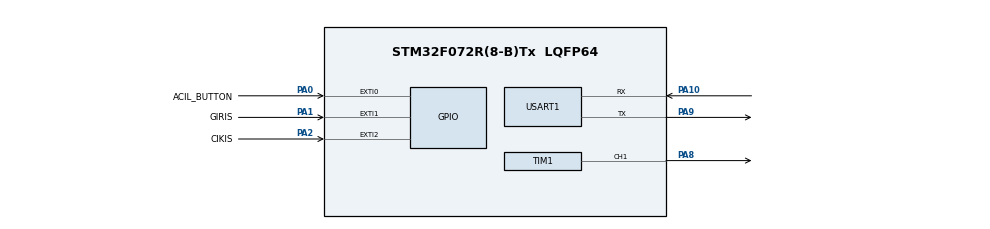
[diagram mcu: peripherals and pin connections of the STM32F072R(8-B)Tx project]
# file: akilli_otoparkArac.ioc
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Mcu.Family=STM32F0
Mcu.Name=STM32F072R(8-B)Tx
Mcu.Package=LQFP64
NVIC.TIM2_IRQn=true\:0\:0\:false\:false\:true\:true\:true\:true
NVIC.USART1_IRQn=true\:0\:0\:false\:false\:true\:true\:true\:true
PA0.GPIO_Label=ACIL_BUTTON
PA0.Signal=GPXTI0
PA1.GPIO_Label=GIRIS
PA1.Signal=GPXTI1
PA10.Mode=Asynchronous
PA10.Signal=USART1_RX
PA2.GPIO_Label=CIKIS
PA2.Signal=GPXTI2
PA8.Signal=S_TIM1_CH1
PA9.Mode=Asynchronous
PA9.Signal=USART1_TX
ProjectManager.HeapSize=0x200
ProjectManager.StackSize=0x400
ProjectManager.TargetToolchain=STM32CubeIDE
SH.S_TIM1_CH1.0=TIM1_CH1,PWM Generation1 CH1
TIM1.Channel-PWM\ Generation1\ CH1=TIM_CHANNEL_1
USART1.VirtualMode-Asynchronous=VM_ASYNC
VP_TIM2_VS_ClockSourceINT.Mode=Internal
board=custom

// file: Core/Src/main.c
/* USER CODE BEGIN Header */
/**
  ******************************************************************************
  * @file           : main.c
  * @brief          : Main program body
  ******************************************************************************
  * @attention
  *
  * Copyright (c) 2026 STMicroelectronics.
  * All rights reserved.
  *
  * This software is licensed under terms that can be found in the LICENSE file
  * in the root directory of this software component.
  * If no LICENSE file comes with this software, it is provided AS-IS.
  *
  ******************************************************************************
  */
/* USER CODE END Header */
#include "main.h"
#include <string.h>
#include <stdio.h>

TIM_HandleTypeDef htim1;
TIM_HandleTypeDef htim2;

UART_HandleTypeDef huart1;

/* USER CODE BEGIN PV */
volatile uint8_t arac_sayisi = 0;
volatile uint8_t acil = 0;
volatile uint8_t bariyer_acik = 0;
volatile uint8_t rapor_gonder = 0;
volatile uint32_t saniye = 0;
volatile uint32_t bariyer_kapanma_zamani = 0;

char msg[50];

void uart_yaz(const char *s);
void bariyer_ac(void);
void bariyer_kapat(void);
/* USER CODE END PV */

void SystemClock_Config(void);
static void MX_GPIO_Init(void);
static void MX_TIM1_Init(void);
static void MX_TIM2_Init(void);
static void MX_USART1_UART_Init(void);

/* USER CODE BEGIN 0 */
void uart_yaz(const char *s)
{
  HAL_UART_Transmit(&huart1, (uint8_t*)s, strlen(s), 100);
}

/* Servo açık konum */
void bariyer_ac(void)
{
  __HAL_TIM_SET_COMPARE(&htim1, TIM_CHANNEL_1, 2000);
  bariyer_acik = 1;
}

/* Servo kapalı konum */
void bariyer_kapat(void)
{
  __HAL_TIM_SET_COMPARE(&htim1, TIM_CHANNEL_1, 1000);
  bariyer_acik = 0;
}
/* USER CODE END 0 */

int main(void)
{

  /* MCU Configuration--------------------------------------------------------*/

  HAL_Init();

  SystemClock_Config();

  MX_GPIO_Init();
  MX_TIM1_Init();
  MX_TIM2_Init();
  MX_USART1_UART_Init();

  /* USER CODE BEGIN 2 */
  HAL_TIM_PWM_Start(&htim1, TIM_CHANNEL_1);
  HAL_TIM_Base_Start_IT(&htim2);

  bariyer_kapat();
  uart_yaz("SISTEM BASLADI\r\n");
  /* USER CODE END 2 */

  /* Infinite loop */
  /* USER CODE BEGIN WHILE */
  while (1)
  {
    /* Acil durumda bariyer kapali kalir */
    if(acil)
    {
      bariyer_kapat();
    }
    else
    {
      /* Bariyer acildiysa ve 2 saniye dolduysa kapat */
      if(bariyer_acik && (saniye >= bariyer_kapanma_zamani))
      {
        bariyer_kapat();
      }
    }

    /* Her 5 saniyede bir arac sayisini UART ile gonder */
    if(rapor_gonder)
    {
      rapor_gonder = 0;
      sprintf(msg, "ARAC SAYISI: %d\r\n", arac_sayisi);
      uart_yaz(msg);
    }

    /* USER CODE END WHILE */

  }
}

void SystemClock_Config(void)
{
  RCC_OscInitTypeDef RCC_OscInitStruct = {0};
  RCC_ClkInitTypeDef RCC_ClkInitStruct = {0};
  RCC_PeriphCLKInitTypeDef PeriphClkInit = {0};

  RCC_OscInitStruct.OscillatorType = RCC_OSCILLATORTYPE_HSI;
  RCC_OscInitStruct.HSIState = RCC_HSI_ON;
  RCC_OscInitStruct.HSICalibrationValue = RCC_HSICALIBRATION_DEFAULT;
  RCC_OscInitStruct.PLL.PLLState = RCC_PLL_NONE;
  if (HAL_RCC_OscConfig(&RCC_OscInitStruct) != HAL_OK)
  {
    Error_Handler();
  }

  RCC_ClkInitStruct.ClockType = RCC_CLOCKTYPE_HCLK|RCC_CLOCKTYPE_SYSCLK
                              |RCC_CLOCKTYPE_PCLK1;
  RCC_ClkInitStruct.SYSCLKSource = RCC_SYSCLKSOURCE_HSI;
  RCC_ClkInitStruct.AHBCLKDivider = RCC_SYSCLK_DIV1;
  RCC_ClkInitStruct.APB1CLKDivider = RCC_HCLK_DIV1;

  if (HAL_RCC_ClockConfig(&RCC_ClkInitStruct, FLASH_LATENCY_0) != HAL_OK)
  {
    Error_Handler();
  }

  PeriphClkInit.PeriphClockSelection = RCC_PERIPHCLK_USART1;
  PeriphClkInit.Usart1ClockSelection = RCC_USART1CLKSOURCE_PCLK1;
  if (HAL_RCCEx_PeriphCLKConfig(&PeriphClkInit) != HAL_OK)
  {
    Error_Handler();
  }
}

static void MX_TIM1_Init(void)
{

  TIM_MasterConfigTypeDef sMasterConfig = {0};
  TIM_OC_InitTypeDef sConfigOC = {0};
  TIM_BreakDeadTimeConfigTypeDef sBreakDeadTimeConfig = {0};

  htim1.Instance = TIM1;
  htim1.Init.Prescaler = 8 - 1;          /* 8MHz / 8 = 1MHz */
  htim1.Init.CounterMode = TIM_COUNTERMODE_UP;
  htim1.Init.Period = 20000 - 1;         /* 20ms -> 50Hz servo PWM */
  htim1.Init.ClockDivision = TIM_CLOCKDIVISION_DIV1;
  htim1.Init.RepetitionCounter = 0;
  htim1.Init.AutoReloadPreload = TIM_AUTORELOAD_PRELOAD_DISABLE;
  if (HAL_TIM_PWM_Init(&htim1) != HAL_OK)
  {
    Error_Handler();
  }

  sMasterConfig.MasterOutputTrigger = TIM_TRGO_RESET;
  sMasterConfig.MasterSlaveMode = TIM_MASTERSLAVEMODE_DISABLE;
  if (HAL_TIMEx_MasterConfigSynchronization(&htim1, &sMasterConfig) != HAL_OK)
  {
    Error_Handler();
  }

  sConfigOC.OCMode = TIM_OCMODE_PWM1;
  sConfigOC.Pulse = 1000;                /* Baslangicta kapali konum */
  sConfigOC.OCPolarity = TIM_OCPOLARITY_HIGH;
  sConfigOC.OCNPolarity = TIM_OCNPOLARITY_HIGH;
  sConfigOC.OCFastMode = TIM_OCFAST_DISABLE;
  sConfigOC.OCIdleState = TIM_OCIDLESTATE_RESET;
  sConfigOC.OCNIdleState = TIM_OCNIDLESTATE_RESET;
  if (HAL_TIM_PWM_ConfigChannel(&htim1, &sConfigOC, TIM_CHANNEL_1) != HAL_OK)
  {
    Error_Handler();
  }

  sBreakDeadTimeConfig.OffStateRunMode = TIM_OSSR_DISABLE;
  sBreakDeadTimeConfig.OffStateIDLEMode = TIM_OSSI_DISABLE;
  sBreakDeadTimeConfig.LockLevel = TIM_LOCKLEVEL_OFF;
  sBreakDeadTimeConfig.DeadTime = 0;
  sBreakDeadTimeConfig.BreakState = TIM_BREAK_DISABLE;
  sBreakDeadTimeConfig.BreakPolarity = TIM_BREAKPOLARITY_HIGH;
  sBreakDeadTimeConfig.AutomaticOutput = TIM_AUTOMATICOUTPUT_DISABLE;
  if (HAL_TIMEx_ConfigBreakDeadTime(&htim1, &sBreakDeadTimeConfig) != HAL_OK)
  {
    Error_Handler();
  }

  HAL_TIM_MspPostInit(&htim1);
}

static void MX_TIM2_Init(void)
{

  TIM_ClockConfigTypeDef sClockSourceConfig = {0};
  TIM_MasterConfigTypeDef sMasterConfig = {0};

  htim2.Instance = TIM2;
  htim2.Init.Prescaler = 8000 - 1;       /* 8MHz / 8000 = 1kHz */
  htim2.Init.CounterMode = TIM_COUNTERMODE_UP;
  htim2.Init.Period = 1000 - 1;          /* 1kHz / 1000 = 1 saniye */
  htim2.Init.ClockDivision = TIM_CLOCKDIVISION_DIV1;
  htim2.Init.AutoReloadPreload = TIM_AUTORELOAD_PRELOAD_DISABLE;
  if (HAL_TIM_Base_Init(&htim2) != HAL_OK)
  {
    Error_Handler();
  }

  sClockSourceConfig.ClockSource = TIM_CLOCKSOURCE_INTERNAL;
  if (HAL_TIM_ConfigClockSource(&htim2, &sClockSourceConfig) != HAL_OK)
  {
    Error_Handler();
  }

  sMasterConfig.MasterOutputTrigger = TIM_TRGO_RESET;
  sMasterConfig.MasterSlaveMode = TIM_MASTERSLAVEMODE_DISABLE;
  if (HAL_TIMEx_MasterConfigSynchronization(&htim2, &sMasterConfig) != HAL_OK)
  {
    Error_Handler();
  }

}

static void MX_USART1_UART_Init(void)
{

  huart1.Instance = USART1;
  huart1.Init.BaudRate = 38400;
  huart1.Init.WordLength = UART_WORDLENGTH_8B;
  huart1.Init.StopBits = UART_STOPBITS_1;
  huart1.Init.Parity = UART_PARITY_NONE;
  huart1.Init.Mode = UART_MODE_TX_RX;
  huart1.Init.HwFlowCtl = UART_HWCONTROL_NONE;
  huart1.Init.OverSampling = UART_OVERSAMPLING_16;
  huart1.Init.OneBitSampling = UART_ONE_BIT_SAMPLE_DISABLE;
  huart1.AdvancedInit.AdvFeatureInit = UART_ADVFEATURE_NO_INIT;
  if (HAL_UART_Init(&huart1) != HAL_OK)
  {
    Error_Handler();
  }

}

static void MX_GPIO_Init(void)
{
  GPIO_InitTypeDef GPIO_InitStruct = {0};

  __HAL_RCC_GPIOA_CLK_ENABLE();

  /* Configure GPIO pins : ACIL_BUTTON_Pin GIRIS_Pin CIKIS_Pin */
  GPIO_InitStruct.Pin = ACIL_BUTTON_Pin | GIRIS_Pin | CIKIS_Pin;
  GPIO_InitStruct.Mode = GPIO_MODE_IT_RISING;
  GPIO_InitStruct.Pull = GPIO_NOPULL;
  HAL_GPIO_Init(GPIOA, &GPIO_InitStruct);

  /* EXTI interrupt init */
  HAL_NVIC_SetPriority(EXTI0_1_IRQn, 0, 0);
  HAL_NVIC_EnableIRQ(EXTI0_1_IRQn);

  HAL_NVIC_SetPriority(EXTI2_3_IRQn, 0, 0);
  HAL_NVIC_EnableIRQ(EXTI2_3_IRQn);

  HAL_NVIC_SetPriority(EXTI4_15_IRQn, 0, 0);
  HAL_NVIC_EnableIRQ(EXTI4_15_IRQn);

}

/* USER CODE BEGIN 4 */
void HAL_GPIO_EXTI_Callback(uint16_t GPIO_Pin)
{
  if(GPIO_Pin == GIRIS_Pin)
  {
    if((arac_sayisi < 10) && (acil == 0))
    {
      arac_sayisi++;
      bariyer_ac();
      bariyer_kapanma_zamani = saniye + 2;
      uart_yaz("GIRIS OLDU\r\n");
    }
    else if(arac_sayisi >= 10)
    {
      uart_yaz("OTOPARK DOLU\r\n");
    }
  }

  if(GPIO_Pin == CIKIS_Pin)
  {
    if((arac_sayisi > 0) && (acil == 0))
    {
      arac_sayisi--;
      bariyer_ac();
      bariyer_kapanma_zamani = saniye + 2;
      uart_yaz("CIKIS OLDU\r\n");
    }
  }

  if(GPIO_Pin == ACIL_BUTTON_Pin)
  {
    acil = 1;
    bariyer_kapat();
    uart_yaz("ACIL DURUM AKTIF\r\n");
  }
}

void HAL_TIM_PeriodElapsedCallback(TIM_HandleTypeDef *htim)
{
  if(htim->Instance == TIM2)
  {
    saniye++;

    if((saniye % 5) == 0)
    {
      rapor_gonder = 1;
    }
  }
}
/* USER CODE END 4 */

void Error_Handler(void)
{
  __disable_irq();
  while (1)
  {
  }
}
